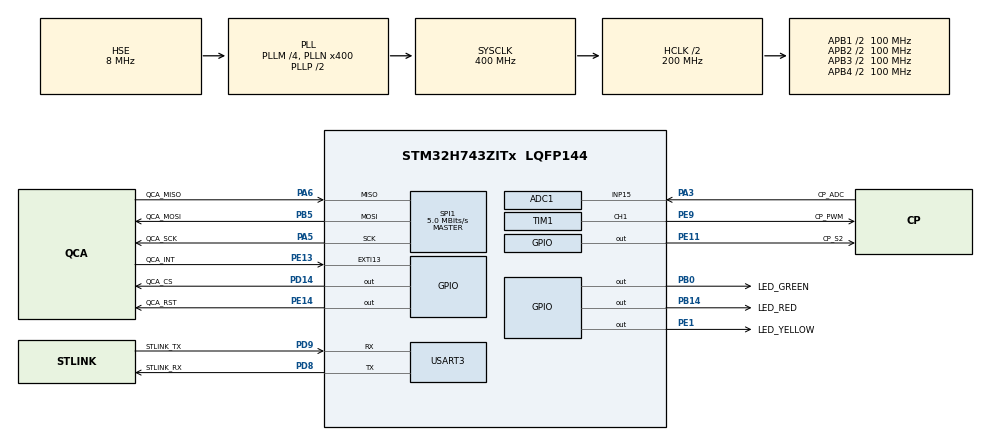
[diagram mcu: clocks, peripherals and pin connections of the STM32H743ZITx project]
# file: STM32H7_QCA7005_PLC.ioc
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ADC1.Channel-0\#ChannelRegularConversion=ADC_CHANNEL_15
ADC1.ClockPrescaler=ADC_CLOCK_ASYNC_DIV2
ADC1.ContinuousConvMode=ENABLE
ADC1.NbrOfConversionFlag=1
ADC1.OffsetNumber-0\#ChannelRegularConversion=ADC_OFFSET_NONE
ADC1.Overrun=ADC_OVR_DATA_OVERWRITTEN
ADC1.Rank-0\#ChannelRegularConversion=1
ADC1.SamplingTime-0\#ChannelRegularConversion=ADC_SAMPLETIME_8CYCLES_5
ADC1.master=1
CORTEX_M7.CPU_DCache=Enabled
CORTEX_M7.CPU_ICache=Enabled
CORTEX_M7.default_mode_Activation=1
Mcu.Family=STM32H7
Mcu.Name=STM32H743ZITx
Mcu.Package=LQFP144
NVIC.EXTI15_10_IRQn=true\:5\:0\:false\:false\:true\:true\:true\:true\:true
NVIC.PriorityGroup=NVIC_PRIORITYGROUP_4
PA3.GPIO_Label=CP_ADC
PA3.Signal=ADCx_INP15
PA5.GPIO_Label=QCA_SCK
PA5.GPIO_PuPd=GPIO_PULLUP
PA5.GPIO_Speed=GPIO_SPEED_FREQ_HIGH
PA5.Mode=Full_Duplex_Master
PA5.Signal=SPI1_SCK
PA6.GPIO_Label=QCA_MISO
PA6.GPIO_PuPd=GPIO_PULLUP
PA6.GPIO_Speed=GPIO_SPEED_FREQ_HIGH
PA6.Mode=Full_Duplex_Master
PA6.Signal=SPI1_MISO
PB0.GPIO_Label=LED_GREEN
PB0.Signal=GPIO_Output
PB14.GPIO_Label=LED_RED
PB14.Signal=GPIO_Output
PB5.GPIO_Label=QCA_MOSI
PB5.GPIO_Speed=GPIO_SPEED_FREQ_HIGH
PB5.Mode=Full_Duplex_Master
PB5.Signal=SPI1_MOSI
PD14.GPIO_Label=QCA_CS
PD14.GPIO_Speed=GPIO_SPEED_FREQ_HIGH
PD14.PinState=GPIO_PIN_SET
PD14.Signal=GPIO_Output
PD8.GPIO_Label=STLINK_RX
PD8.Mode=Asynchronous
PD8.Signal=USART3_TX
PD9.GPIO_Label=STLINK_TX
PD9.Mode=Asynchronous
PD9.Signal=USART3_RX
PE1.GPIO_Label=LED_YELLOW
PE1.Signal=GPIO_Output
PE11.GPIO_Label=CP_S2
PE11.PinState=GPIO_PIN_RESET
PE11.Signal=GPIO_Output
PE13.GPIO_Label=QCA_INT
PE13.GPIO_ModeDefaultEXTI=GPIO_MODE_IT_RISING
PE13.GPIO_PuPd=GPIO_PULLDOWN
PE13.Signal=GPXTI13
PE14.GPIO_Label=QCA_RST
PE14.PinState=GPIO_PIN_RESET
PE14.Signal=GPIO_Output
PE9.GPIO_Label=CP_PWM
PE9.Signal=S_TIM1_CH1
PH0-OSC_IN\ (PH0).Mode=HSE-External-Clock-Source
PH0-OSC_IN\ (PH0).Signal=RCC_OSC_IN
PH1-OSC_OUT\ (PH1).Signal=RCC_OSC_OUT
ProjectManager.HeapSize=0x1000
ProjectManager.StackSize=0x1000
ProjectManager.TargetToolchain=STM32CubeIDE
RCC.ADCCLockSelection=RCC_ADCCLKSOURCE_CLKP
RCC.ADCFreq_Value=64000000
RCC.APB1Freq_Value=100000000
RCC.APB2Freq_Value=100000000
RCC.APB3Freq_Value=100000000
RCC.APB4Freq_Value=100000000
RCC.CKPERSourceSelection=RCC_CLKPSOURCE_HSI
RCC.CortexFreq_Value=400000000
RCC.D1PPRE=RCC_APB3_DIV2
RCC.D2PPRE1=RCC_APB1_DIV2
RCC.D2PPRE2=RCC_APB2_DIV2
RCC.D3PPRE=RCC_APB4_DIV2
RCC.DIVM1=4
RCC.DIVN1=400
RCC.DIVQ1=10
RCC.HCLKFreq_Value=200000000
RCC.HPRE=RCC_HCLK_DIV2
RCC.HSE_VALUE=8000000
RCC.PLLSourceVirtual=RCC_PLLSOURCE_HSE
RCC.SYSCLKFreq_VALUE=400000000
RCC.SYSCLKSource=RCC_SYSCLKSOURCE_PLLCLK
SH.ADCx_INP15.0=ADC1_INP15,IN15-Single-Ended
SH.S_TIM1_CH1.0=TIM1_CH1,PWM Generation1 CH1
SPI1.BaudRatePrescaler=SPI_BAUDRATEPRESCALER_16
SPI1.CLKPhase=SPI_PHASE_2EDGE
SPI1.CLKPolarity=SPI_POLARITY_HIGH
SPI1.CalculateBaudRate=5.0 MBits/s
SPI1.DataSize=SPI_DATASIZE_8BIT
SPI1.Direction=SPI_DIRECTION_2LINES
SPI1.MasterKeepIOState=SPI_MASTER_KEEP_IO_STATE_ENABLE
SPI1.Mode=SPI_MODE_MASTER
SPI1.VirtualType=VM_MASTER
TIM1.AutoReloadPreload=TIM_AUTORELOAD_PRELOAD_ENABLE
TIM1.Channel-PWM\ Generation1\ CH1=TIM_CHANNEL_1
TIM1.Period=999
TIM1.Prescaler=199
TIM1.Pulse-PWM\ Generation1\ CH1=1000
USART3.VirtualMode-Asynchronous=VM_ASYNC
VP_RNG_VS_RNG.Mode=RNG_Activate
VP_TIM1_VS_ClockSourceINT.Mode=Internal
board=NUCLEO-H743ZI2

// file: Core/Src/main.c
/* USER CODE BEGIN Header */
/**
  ******************************************************************************
  * @file           : main.c
  * @brief          : STM32H743 (NUCLEO-H743ZI2) + QCA7005 HomePlug Green PHY
  ******************************************************************************
  *  - QCA7005 on SPI1 (mode 3, 5 MHz), INT on PE13, RESET_L on PE14
  *  - ISO 15118-3 SLAC as charger (EVSE) or vehicle (EV), see app_conf.h
  *  - Control Pilot: TIM1_CH1 1 kHz PWM (EVSE), ADC1 PA3 (both), S2 PE11 (EV)
  *  - Log on USART3 (ST-LINK VCP) 115200-8-N-1
  *  - Clock: HSE 8 MHz bypass (ST-LINK MCO) -> SYSCLK 400 MHz, HCLK 200 MHz
  *
  * Generated layout of STM32CubeMX (STM32H7_QCA7005_PLC.ioc). Hand written
  * code lives only between USER CODE BEGIN / END, so the file can be
  * regenerated. See docs/CubeMX_설정.md.
  ******************************************************************************
  */
/* USER CODE END Header */
#include "main.h"

/* USER CODE BEGIN Includes */
#include <stdio.h>
#include "app_plc.h"
/* USER CODE END Includes */

ADC_HandleTypeDef hadc1;

RNG_HandleTypeDef hrng;

SPI_HandleTypeDef hspi1;

TIM_HandleTypeDef htim1;

UART_HandleTypeDef huart3;

void SystemClock_Config(void);
void PeriphCommonClock_Config(void);
static void MPU_Config(void);
static void MX_GPIO_Init(void);
static void MX_USART3_UART_Init(void);
static void MX_SPI1_Init(void);
static void MX_ADC1_Init(void);
static void MX_TIM1_Init(void);
static void MX_RNG_Init(void);

/* USER CODE BEGIN 0 */
/* printf -> USART3 (used by _write in syscalls.c) */
int __io_putchar(int ch)
{
  uint8_t c = (uint8_t)ch;
  HAL_UART_Transmit(&huart3, &c, 1, 10);
  return ch;
}
/* USER CODE END 0 */

int main(void)
{

  /* MPU Configuration--------------------------------------------------------*/
  MPU_Config();

  /* Enable the CPU Cache */

  /* Enable I-Cache---------------------------------------------------------*/
  SCB_EnableICache();

  /* Enable D-Cache---------------------------------------------------------*/
  SCB_EnableDCache();

  /* MCU Configuration--------------------------------------------------------*/

  /* Reset of all peripherals, Initializes the Flash interface and the Systick. */
  HAL_Init();

  /* Configure the system clock */
  SystemClock_Config();

  /* Configure the peripherals common clocks */
  PeriphCommonClock_Config();

  /* USER CODE BEGIN SysInit */
  /* DWT cycle counter: time base of the 2 ms Control Pilot sampling window */
  CoreDebug->DEMCR |= CoreDebug_DEMCR_TRCENA_Msk;
  DWT->CYCCNT = 0;
  DWT->CTRL |= DWT_CTRL_CYCCNTENA_Msk;
  /* USER CODE END SysInit */

  /* Initialize all configured peripherals */
  MX_GPIO_Init();
  MX_USART3_UART_Init();
  MX_SPI1_Init();
  MX_ADC1_Init();
  MX_TIM1_Init();
  MX_RNG_Init();
  /* USER CODE BEGIN 2 */
  APP_PLC_Init();          /* CP, QCA7005 driver (pulses RESET_L), role EVSE / EV */
  /* USER CODE END 2 */

  /* Infinite loop */
  while (1)
  {

    /* USER CODE BEGIN 3 */
    APP_PLC_Process();     /* SPI polling, SLAC state machine, CP, LEDs, status log */
  }
  /* USER CODE END 3 */
}

void SystemClock_Config(void)
{
  RCC_OscInitTypeDef RCC_OscInitStruct = {0};
  RCC_ClkInitTypeDef RCC_ClkInitStruct = {0};

  /** Supply configuration update enable
  */
  HAL_PWREx_ConfigSupply(PWR_LDO_SUPPLY);

  /** Configure the main internal regulator output voltage
  */
  __HAL_PWR_VOLTAGESCALING_CONFIG(PWR_REGULATOR_VOLTAGE_SCALE1);

  while(!__HAL_PWR_GET_FLAG(PWR_FLAG_VOSRDY)) {}

  /** Initializes the RCC Oscillators according to the specified parameters
  * in the RCC_OscInitTypeDef structure.
  */
  RCC_OscInitStruct.OscillatorType = RCC_OSCILLATORTYPE_HSI48|RCC_OSCILLATORTYPE_HSI
                              |RCC_OSCILLATORTYPE_HSE;
  RCC_OscInitStruct.HSEState = RCC_HSE_BYPASS;
  RCC_OscInitStruct.HSIState = RCC_HSI_DIV1;
  RCC_OscInitStruct.HSICalibrationValue = RCC_HSICALIBRATION_DEFAULT;
  RCC_OscInitStruct.HSI48State = RCC_HSI48_ON;
  RCC_OscInitStruct.PLL.PLLState = RCC_PLL_ON;
  RCC_OscInitStruct.PLL.PLLSource = RCC_PLLSOURCE_HSE;
  RCC_OscInitStruct.PLL.PLLM = 4;
  RCC_OscInitStruct.PLL.PLLN = 400;
  RCC_OscInitStruct.PLL.PLLP = 2;
  RCC_OscInitStruct.PLL.PLLQ = 10;
  RCC_OscInitStruct.PLL.PLLR = 2;
  RCC_OscInitStruct.PLL.PLLRGE = RCC_PLL1VCIRANGE_1;
  RCC_OscInitStruct.PLL.PLLVCOSEL = RCC_PLL1VCOWIDE;
  RCC_OscInitStruct.PLL.PLLFRACN = 0;
  if (HAL_RCC_OscConfig(&RCC_OscInitStruct) != HAL_OK)
  {
    Error_Handler();
  }

  /** Initializes the CPU, AHB and APB buses clocks
  */
  RCC_ClkInitStruct.ClockType = RCC_CLOCKTYPE_HCLK|RCC_CLOCKTYPE_SYSCLK
                              |RCC_CLOCKTYPE_PCLK1|RCC_CLOCKTYPE_PCLK2
                              |RCC_CLOCKTYPE_D3PCLK1|RCC_CLOCKTYPE_D1PCLK1;
  RCC_ClkInitStruct.SYSCLKSource = RCC_SYSCLKSOURCE_PLLCLK;
  RCC_ClkInitStruct.SYSCLKDivider = RCC_SYSCLK_DIV1;
  RCC_ClkInitStruct.AHBCLKDivider = RCC_HCLK_DIV2;
  RCC_ClkInitStruct.APB3CLKDivider = RCC_APB3_DIV2;
  RCC_ClkInitStruct.APB1CLKDivider = RCC_APB1_DIV2;
  RCC_ClkInitStruct.APB2CLKDivider = RCC_APB2_DIV2;
  RCC_ClkInitStruct.APB4CLKDivider = RCC_APB4_DIV2;

  if (HAL_RCC_ClockConfig(&RCC_ClkInitStruct, FLASH_LATENCY_2) != HAL_OK)
  {
    Error_Handler();
  }
}

void PeriphCommonClock_Config(void)
{
  RCC_PeriphCLKInitTypeDef PeriphClkInitStruct = {0};

  /** Initializes the peripherals clock
  */
  PeriphClkInitStruct.PeriphClockSelection = RCC_PERIPHCLK_CKPER;
  PeriphClkInitStruct.CkperClockSelection = RCC_CLKPSOURCE_HSI;
  if (HAL_RCCEx_PeriphCLKConfig(&PeriphClkInitStruct) != HAL_OK)
  {
    Error_Handler();
  }
}

static void MX_ADC1_Init(void)
{

  ADC_MultiModeTypeDef multimode = {0};
  ADC_ChannelConfTypeDef sConfig = {0};

  /** Common config
  */
  hadc1.Instance = ADC1;
  hadc1.Init.ClockPrescaler = ADC_CLOCK_ASYNC_DIV2;
  hadc1.Init.Resolution = ADC_RESOLUTION_12B;
  hadc1.Init.ScanConvMode = ADC_SCAN_DISABLE;
  hadc1.Init.EOCSelection = ADC_EOC_SINGLE_CONV;
  hadc1.Init.LowPowerAutoWait = DISABLE;
  hadc1.Init.ContinuousConvMode = ENABLE;
  hadc1.Init.NbrOfConversion = 1;
  hadc1.Init.DiscontinuousConvMode = DISABLE;
  hadc1.Init.ExternalTrigConv = ADC_SOFTWARE_START;
  hadc1.Init.ExternalTrigConvEdge = ADC_EXTERNALTRIGCONVEDGE_NONE;
  hadc1.Init.ConversionDataManagement = ADC_CONVERSIONDATA_DR;
  hadc1.Init.Overrun = ADC_OVR_DATA_OVERWRITTEN;
  hadc1.Init.LeftBitShift = ADC_LEFTBITSHIFT_NONE;
  hadc1.Init.OversamplingMode = DISABLE;
  if (HAL_ADC_Init(&hadc1) != HAL_OK)
  {
    Error_Handler();
  }

  /** Configure the ADC multi-mode
  */
  multimode.Mode = ADC_MODE_INDEPENDENT;
  if (HAL_ADCEx_MultiModeConfigChannel(&hadc1, &multimode) != HAL_OK)
  {
    Error_Handler();
  }

  /** Configure Regular Channel
  */
  sConfig.Channel = ADC_CHANNEL_15;
  sConfig.Rank = ADC_REGULAR_RANK_1;
  sConfig.SamplingTime = ADC_SAMPLETIME_8CYCLES_5;
  sConfig.SingleDiff = ADC_SINGLE_ENDED;
  sConfig.OffsetNumber = ADC_OFFSET_NONE;
  sConfig.Offset = 0;
  sConfig.OffsetSignedSaturation = DISABLE;
  if (HAL_ADC_ConfigChannel(&hadc1, &sConfig) != HAL_OK)
  {
    Error_Handler();
  }
  /* USER CODE BEGIN ADC1_Init 2 */
  /* CubeMX does not generate the calibration: run it once before the first start */
  if (HAL_ADCEx_Calibration_Start(&hadc1, ADC_CALIB_OFFSET, ADC_SINGLE_ENDED) != HAL_OK)
  {
    Error_Handler();
  }
  /* USER CODE END ADC1_Init 2 */

}

static void MX_RNG_Init(void)
{

  hrng.Instance = RNG;
  hrng.Init.ClockErrorDetection = RNG_CED_ENABLE;
  if (HAL_RNG_Init(&hrng) != HAL_OK)
  {
    Error_Handler();
  }

}

static void MX_SPI1_Init(void)
{

  /* SPI1 parameter configuration*/
  hspi1.Instance = SPI1;
  hspi1.Init.Mode = SPI_MODE_MASTER;
  hspi1.Init.Direction = SPI_DIRECTION_2LINES;
  hspi1.Init.DataSize = SPI_DATASIZE_8BIT;
  hspi1.Init.CLKPolarity = SPI_POLARITY_HIGH;
  hspi1.Init.CLKPhase = SPI_PHASE_2EDGE;
  hspi1.Init.NSS = SPI_NSS_SOFT;
  hspi1.Init.BaudRatePrescaler = SPI_BAUDRATEPRESCALER_16;
  hspi1.Init.FirstBit = SPI_FIRSTBIT_MSB;
  hspi1.Init.TIMode = SPI_TIMODE_DISABLE;
  hspi1.Init.CRCCalculation = SPI_CRCCALCULATION_DISABLE;
  hspi1.Init.CRCPolynomial = 0x0;
  hspi1.Init.NSSPMode = SPI_NSS_PULSE_DISABLE;
  hspi1.Init.NSSPolarity = SPI_NSS_POLARITY_LOW;
  hspi1.Init.FifoThreshold = SPI_FIFO_THRESHOLD_01DATA;
  hspi1.Init.TxCRCInitializationPattern = SPI_CRC_INITIALIZATION_ALL_ZERO_PATTERN;
  hspi1.Init.RxCRCInitializationPattern = SPI_CRC_INITIALIZATION_ALL_ZERO_PATTERN;
  hspi1.Init.MasterSSIdleness = SPI_MASTER_SS_IDLENESS_00CYCLE;
  hspi1.Init.MasterInterDataIdleness = SPI_MASTER_INTERDATA_IDLENESS_00CYCLE;
  hspi1.Init.MasterReceiverAutoSusp = SPI_MASTER_RX_AUTOSUSP_DISABLE;
  hspi1.Init.MasterKeepIOState = SPI_MASTER_KEEP_IO_STATE_ENABLE;
  hspi1.Init.IOSwap = SPI_IO_SWAP_DISABLE;
  if (HAL_SPI_Init(&hspi1) != HAL_OK)
  {
    Error_Handler();
  }

}

static void MX_TIM1_Init(void)
{

  TIM_ClockConfigTypeDef sClockSourceConfig = {0};
  TIM_MasterConfigTypeDef sMasterConfig = {0};
  TIM_OC_InitTypeDef sConfigOC = {0};
  TIM_BreakDeadTimeConfigTypeDef sBreakDeadTimeConfig = {0};

  htim1.Instance = TIM1;
  htim1.Init.Prescaler = 199;
  htim1.Init.CounterMode = TIM_COUNTERMODE_UP;
  htim1.Init.Period = 999;
  htim1.Init.ClockDivision = TIM_CLOCKDIVISION_DIV1;
  htim1.Init.RepetitionCounter = 0;
  htim1.Init.AutoReloadPreload = TIM_AUTORELOAD_PRELOAD_ENABLE;
  if (HAL_TIM_Base_Init(&htim1) != HAL_OK)
  {
    Error_Handler();
  }
  sClockSourceConfig.ClockSource = TIM_CLOCKSOURCE_INTERNAL;
  if (HAL_TIM_ConfigClockSource(&htim1, &sClockSourceConfig) != HAL_OK)
  {
    Error_Handler();
  }
  if (HAL_TIM_PWM_Init(&htim1) != HAL_OK)
  {
    Error_Handler();
  }
  sMasterConfig.MasterOutputTrigger = TIM_TRGO_RESET;
  sMasterConfig.MasterOutputTrigger2 = TIM_TRGO2_RESET;
  sMasterConfig.MasterSlaveMode = TIM_MASTERSLAVEMODE_DISABLE;
  if (HAL_TIMEx_MasterConfigSynchronization(&htim1, &sMasterConfig) != HAL_OK)
  {
    Error_Handler();
  }
  sConfigOC.OCMode = TIM_OCMODE_PWM1;
  sConfigOC.Pulse = 1000;
  sConfigOC.OCPolarity = TIM_OCPOLARITY_HIGH;
  sConfigOC.OCNPolarity = TIM_OCNPOLARITY_HIGH;
  sConfigOC.OCFastMode = TIM_OCFAST_DISABLE;
  sConfigOC.OCIdleState = TIM_OCIDLESTATE_RESET;
  sConfigOC.OCNIdleState = TIM_OCNIDLESTATE_RESET;
  if (HAL_TIM_PWM_ConfigChannel(&htim1, &sConfigOC, TIM_CHANNEL_1) != HAL_OK)
  {
    Error_Handler();
  }
  sBreakDeadTimeConfig.OffStateRunMode = TIM_OSSR_DISABLE;
  sBreakDeadTimeConfig.OffStateIDLEMode = TIM_OSSI_DISABLE;
  sBreakDeadTimeConfig.LockLevel = TIM_LOCKLEVEL_OFF;
  sBreakDeadTimeConfig.DeadTime = 0;
  sBreakDeadTimeConfig.BreakState = TIM_BREAK_DISABLE;
  sBreakDeadTimeConfig.BreakPolarity = TIM_BREAKPOLARITY_HIGH;
  sBreakDeadTimeConfig.BreakFilter = 0;
  sBreakDeadTimeConfig.Break2State = TIM_BREAK2_DISABLE;
  sBreakDeadTimeConfig.Break2Polarity = TIM_BREAK2POLARITY_HIGH;
  sBreakDeadTimeConfig.Break2Filter = 0;
  sBreakDeadTimeConfig.AutomaticOutput = TIM_AUTOMATICOUTPUT_DISABLE;
  if (HAL_TIMEx_ConfigBreakDeadTime(&htim1, &sBreakDeadTimeConfig) != HAL_OK)
  {
    Error_Handler();
  }
  /* USER CODE BEGIN TIM1_Init 2 */
  /* the PWM is started in cp_init() only for PLC_ROLE_EVSE */
  /* USER CODE END TIM1_Init 2 */
  HAL_TIM_MspPostInit(&htim1);

}

static void MX_USART3_UART_Init(void)
{

  huart3.Instance = USART3;
  huart3.Init.BaudRate = 115200;
  huart3.Init.WordLength = UART_WORDLENGTH_8B;
  huart3.Init.StopBits = UART_STOPBITS_1;
  huart3.Init.Parity = UART_PARITY_NONE;
  huart3.Init.Mode = UART_MODE_TX_RX;
  huart3.Init.HwFlowCtl = UART_HWCONTROL_NONE;
  huart3.Init.OverSampling = UART_OVERSAMPLING_16;
  huart3.Init.OneBitSampling = UART_ONE_BIT_SAMPLE_DISABLE;
  huart3.Init.ClockPrescaler = UART_PRESCALER_DIV1;
  huart3.AdvancedInit.AdvFeatureInit = UART_ADVFEATURE_NO_INIT;
  if (HAL_UART_Init(&huart3) != HAL_OK)
  {
    Error_Handler();
  }
  if (HAL_UARTEx_SetTxFifoThreshold(&huart3, UART_TXFIFO_THRESHOLD_1_8) != HAL_OK)
  {
    Error_Handler();
  }
  if (HAL_UARTEx_SetRxFifoThreshold(&huart3, UART_RXFIFO_THRESHOLD_1_8) != HAL_OK)
  {
    Error_Handler();
  }
  if (HAL_UARTEx_DisableFifoMode(&huart3) != HAL_OK)
  {
    Error_Handler();
  }

}

static void MX_GPIO_Init(void)
{
  GPIO_InitTypeDef GPIO_InitStruct = {0};

  /* GPIO Ports Clock Enable */
  __HAL_RCC_GPIOH_CLK_ENABLE();
  __HAL_RCC_GPIOA_CLK_ENABLE();
  __HAL_RCC_GPIOB_CLK_ENABLE();
  __HAL_RCC_GPIOE_CLK_ENABLE();
  __HAL_RCC_GPIOD_CLK_ENABLE();

  /*Configure GPIO pin Output Level */
  HAL_GPIO_WritePin(GPIOB, LED_GREEN_Pin|LED_RED_Pin, GPIO_PIN_RESET);

  /*Configure GPIO pin Output Level */
  HAL_GPIO_WritePin(GPIOE, CP_S2_Pin|QCA_RST_Pin|LED_YELLOW_Pin, GPIO_PIN_RESET);

  /*Configure GPIO pin Output Level */
  HAL_GPIO_WritePin(QCA_CS_GPIO_Port, QCA_CS_Pin, GPIO_PIN_SET);

  /*Configure GPIO pins : LED_GREEN_Pin LED_RED_Pin */
  GPIO_InitStruct.Pin = LED_GREEN_Pin|LED_RED_Pin;
  GPIO_InitStruct.Mode = GPIO_MODE_OUTPUT_PP;
  GPIO_InitStruct.Pull = GPIO_NOPULL;
  GPIO_InitStruct.Speed = GPIO_SPEED_FREQ_LOW;
  HAL_GPIO_Init(GPIOB, &GPIO_InitStruct);

  /*Configure GPIO pins : CP_S2_Pin QCA_RST_Pin LED_YELLOW_Pin */
  GPIO_InitStruct.Pin = CP_S2_Pin|QCA_RST_Pin|LED_YELLOW_Pin;
  GPIO_InitStruct.Mode = GPIO_MODE_OUTPUT_PP;
  GPIO_InitStruct.Pull = GPIO_NOPULL;
  GPIO_InitStruct.Speed = GPIO_SPEED_FREQ_LOW;
  HAL_GPIO_Init(GPIOE, &GPIO_InitStruct);

  /*Configure GPIO pin : QCA_INT_Pin */
  GPIO_InitStruct.Pin = QCA_INT_Pin;
  GPIO_InitStruct.Mode = GPIO_MODE_IT_RISING;
  GPIO_InitStruct.Pull = GPIO_PULLDOWN;
  HAL_GPIO_Init(QCA_INT_GPIO_Port, &GPIO_InitStruct);

  /*Configure GPIO pin : QCA_CS_Pin */
  GPIO_InitStruct.Pin = QCA_CS_Pin;
  GPIO_InitStruct.Mode = GPIO_MODE_OUTPUT_PP;
  GPIO_InitStruct.Pull = GPIO_NOPULL;
  GPIO_InitStruct.Speed = GPIO_SPEED_FREQ_HIGH;
  HAL_GPIO_Init(QCA_CS_GPIO_Port, &GPIO_InitStruct);

  /* EXTI interrupt init*/
  HAL_NVIC_SetPriority(EXTI15_10_IRQn, 5, 0);
  HAL_NVIC_EnableIRQ(EXTI15_10_IRQn);

}

 /* MPU Configuration */

void MPU_Config(void)
{
  MPU_Region_InitTypeDef MPU_InitStruct = {0};

  /* Disables the MPU */
  HAL_MPU_Disable();

  /** Initializes and configures the Region and the memory to be protected
  */
  MPU_InitStruct.Enable = MPU_REGION_ENABLE;
  MPU_InitStruct.Number = MPU_REGION_NUMBER0;
  MPU_InitStruct.BaseAddress = 0x0;
  MPU_InitStruct.Size = MPU_REGION_SIZE_4GB;
  MPU_InitStruct.SubRegionDisable = 0x87;
  MPU_InitStruct.TypeExtField = MPU_TEX_LEVEL0;
  MPU_InitStruct.AccessPermission = MPU_REGION_NO_ACCESS;
  MPU_InitStruct.DisableExec = MPU_INSTRUCTION_ACCESS_DISABLE;
  MPU_InitStruct.IsShareable = MPU_ACCESS_SHAREABLE;
  MPU_InitStruct.IsCacheable = MPU_ACCESS_NOT_CACHEABLE;
  MPU_InitStruct.IsBufferable = MPU_ACCESS_NOT_BUFFERABLE;

  HAL_MPU_ConfigRegion(&MPU_InitStruct);
  /* Enables the MPU */
  HAL_MPU_Enable(MPU_PRIVILEGED_DEFAULT);

}

void Error_Handler(void)
{
  /* USER CODE BEGIN Error_Handler_Debug */
  __disable_irq();
  HAL_GPIO_WritePin(LED_RED_GPIO_Port, LED_RED_Pin, GPIO_PIN_SET);
  while (1)
  {
  }
  /* USER CODE END Error_Handler_Debug */
}

#ifdef  USE_FULL_ASSERT
/**
  * @brief  Reports the name of the source file and the source line number
  *         where the assert_param error has occurred.
  * @param  file: pointer to the source file name
  * @param  line: assert_param error line source number
  * @retval None
  */
void assert_failed(uint8_t *file, uint32_t line)
{
  /* USER CODE BEGIN 6 */
  (void)file;
  (void)line;
  /* USER CODE END 6 */
}
#endif /* USE_FULL_ASSERT */
